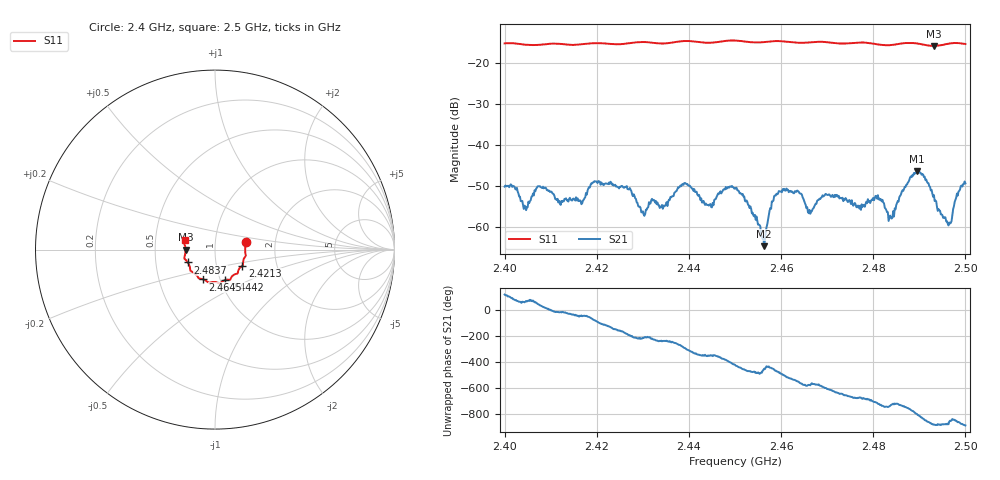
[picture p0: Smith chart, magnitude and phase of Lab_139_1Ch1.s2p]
# Hz S RI R 50
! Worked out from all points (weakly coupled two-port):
!   601 points, 2.4 GHz to 2.5 GHz, reference 50 ohm
!   highest |S21| = -46.43 dB at 2.4895 GHz (marker M1); lowest = -64.7 dB at 2.4563 GHz (marker M2)
!   lowest |S11| = -15.7 dB at 2.4932 GHz (marker M3), VSWR 1.39, Z = 35.9 - j0.0484 ohm
!   |S11| at or under -10 dB: start of sweep to end of sweep
!   S12 and S22 are empty: the file has one direction only
!   S11 on the Smith chart (normalised r, x): 2.4 GHz: 1.41, +0.12; 2.4213 GHz: 1.33, -0.25; 2.4442 GHz: 1.05, -0.37; 2.4645 GHz: 0.83, -0.29; 2.4837 GHz: 0.73, -0.11; 2.5 GHz: 0.71, +0.07
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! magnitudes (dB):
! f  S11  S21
! 2.4 GHz  -15.1  -50.2
! 2.4045 GHz  -15.4  -55.1
! 2.4075 GHz  -15.5  -50.1
! 2.4167 GHz  -15.3  -54.5
! 2.4213 GHz  -15.1  -49.5
! 2.4268 GHz  -15.1  -50.8
! 2.43 GHz  -14.8  -56.2
! 2.4333 GHz  -15.1  -54.7
! 2.4392 GHz  -14.5  -49.3
! 2.4442 GHz  -15.0  -54.6
! 2.45 GHz  -14.4  -50.7
! 2.4563 GHz  -14.8  -64.7
! 2.459 GHz  -14.5  -51.9
! 2.4645 GHz  -15.0  -52.1
! 2.4667 GHz  -14.8  -56.2
! 2.4808 GHz  -15.3  -53.1
! 2.4833 GHz  -15.6  -58.6
! 2.4837 GHz  -15.5  -57.3
! 2.4895 GHz  -15.1  -46.4
! 2.4932 GHz  -15.7  -52.2
! 2.4965 GHz  -15.1  -59.0
! 2.5 GHz  -15.3  -49.4
